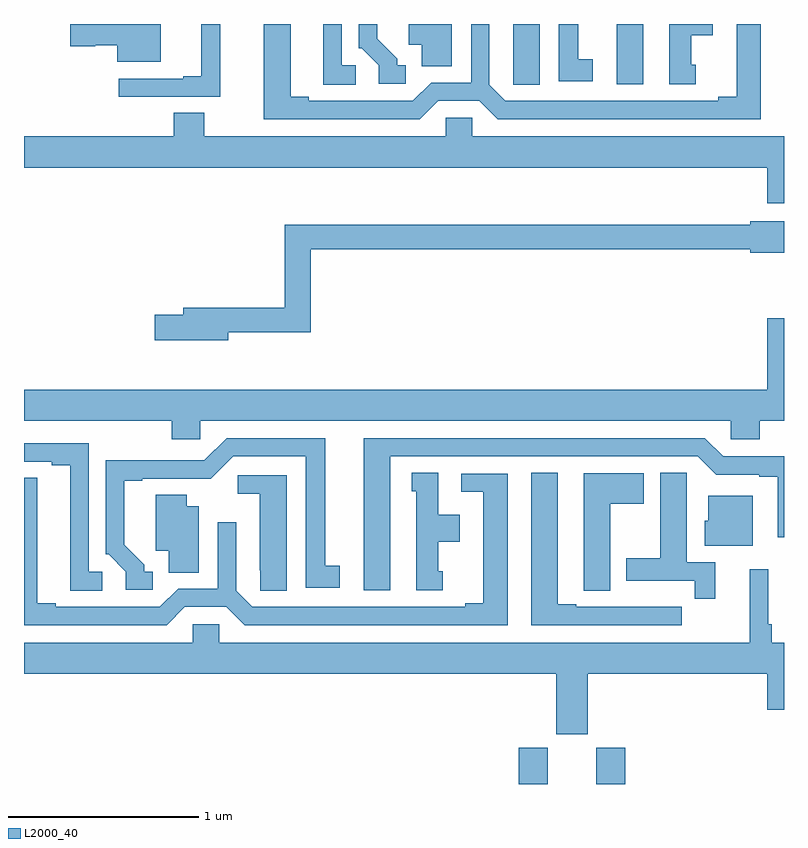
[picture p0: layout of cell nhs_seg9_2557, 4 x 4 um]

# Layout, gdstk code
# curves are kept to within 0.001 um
import gdstk
lib = gdstk.Library(unit=1e-6, precision=1e-09)
def R(c, l, rs):  # rectangles x0, y0, x1, y1
    for r in rs: c.add(gdstk.rectangle(r[:2], r[2:], *l))
def P(c, l, *ps):  # polygons
    for p in ps: c.add(gdstk.Polygon(p, *l))
L2000_40 = (2000, 40)

nhs_seg9_2557 = lib.new_cell('nhs_seg9_2557')
R(nhs_seg9_2557, L2000_40, [(259.604,1202.5,259.756,1202.691), (260.012,1202.5,260.165,1202.691), (260.12,1206.183,260.26,1206.5)])
P(nhs_seg9_2557, L2000_40, [(260.536,1206.285),(260.512,1206.285),(260.512,1206.44),(260.626,1206.44),(260.626,1206.5),(260.396,1206.5),(260.396,1206.183),(260.536,1206.183)],
  [(259.714,1206.5),(259.574,1206.5),(259.574,1206.289),(259.575,1206.289),(259.575,1206.181),(259.714,1206.181)],
  [(259.252,1206.5),(259.025,1206.5),(259.025,1206.392),(259.094,1206.392),(259.094,1206.277),(259.252,1206.277)],
  [(257.719,1206.5),(257.244,1206.5),(257.244,1206.382),(257.376,1206.382),(257.376,1206.389),(257.492,1206.389),(257.492,1206.302),(257.719,1206.302)],
  [(258.033,1206.5),(257.933,1206.5),(257.933,1206.226),(257.837,1206.226),(257.837,1206.213),(257.499,1206.213),(257.499,1206.117),(258.033,1206.117)],
  [(258.745,1206.282),(258.672,1206.282),(258.672,1206.5),(258.575,1206.5),(258.575,1206.181),(258.745,1206.181)],
  [(259.009,1206.282),(258.964,1206.282),(258.964,1206.317),(258.859,1206.422),(258.859,1206.5),(258.762,1206.5),(258.762,1206.372),(258.777,1206.372),(258.867,1206.282),(258.867,1206.186),(259.009,1206.186)],
  [(259.993,1206.314),(259.918,1206.314),(259.918,1206.5),(259.814,1206.5),(259.814,1206.198),(259.993,1206.198)],
  [(259.179,1206.096),(259.397,1206.096),(259.493,1206),(260.878,1206),(260.878,1206.5),(260.75,1206.5),(260.75,1206.116),(260.654,1206.116),(260.654,1206.096),(259.533,1206.096),(259.449,1206.18),(259.449,1206.5),(259.353,1206.5),(259.353,1206.192),(259.143,1206.192),(259.047,1206.096),(258.499,1206.096),(258.499,1206.116),(258.403,1206.116),(258.403,1206.5),(258.263,1206.5),(258.263,1206),(259.083,1206)],
  [(261,1205.908),(259.359,1205.908),(259.359,1206.006),(259.221,1206.006),(259.221,1205.908),(257.949,1205.908),(257.949,1206.032),(257.789,1206.032),(257.789,1205.908),(257,1205.908),(257,1205.744),(260.912,1205.744),(260.912,1205.556),(261,1205.556)],
  [(258.076,1204.878),(258.509,1204.878),(258.509,1205.314),(260.822,1205.314),(260.822,1205.296),(261,1205.296),(261,1205.461),(260.822,1205.461),(260.822,1205.443),(258.373,1205.443),(258.373,1205.006),(257.837,1205.006),(257.837,1204.97),(257.688,1204.97),(257.688,1204.835),(258.076,1204.835)],
  [(257.928,1204.412),(260.721,1204.412),(260.721,1204.314),(260.873,1204.314),(260.873,1204.412),(261,1204.412),(261,1204.951),(260.912,1204.951),(260.912,1204.576),(257,1204.576),(257,1204.412),(257.777,1204.412),(257.777,1204.314),(257.928,1204.314)],
  [(258.928,1204.224),(260.547,1204.224),(260.643,1204.128),(260.87,1204.128),(260.87,1204.116),(260.966,1204.116),(260.966,1203.798),(261,1203.798),(261,1204.224),(260.679,1204.224),(260.583,1204.32),(258.788,1204.32),(258.788,1203.519),(258.928,1203.519)],
  [(257.677,1203.618),(257.632,1203.618),(257.632,1203.653),(257.527,1203.758),(257.527,1204.095),(257.623,1204.095),(257.623,1204.107),(257.984,1204.106),(258.102,1204.224),(258.482,1204.224),(258.482,1203.534),(258.661,1203.534),(258.661,1203.65),(258.586,1203.65),(258.586,1204.32),(258.066,1204.32),(257.949,1204.203),(257.693,1204.203),(257.693,1204.205),(257.43,1204.205),(257.43,1203.708),(257.445,1203.708),(257.535,1203.618),(257.535,1203.522),(257.677,1203.522)],
  [(257.413,1203.618),(257.34,1203.618),(257.34,1204.293),(257,1204.293),(257,1204.197),(257.147,1204.197),(257.147,1204.177),(257.243,1204.177),(257.243,1203.517),(257.413,1203.517)],
  [(260.461,1203.432),(260.348,1203.432),(260.348,1203.433),(260.182,1203.433),(260.182,1203.432),(259.906,1203.432),(259.906,1203.447),(259.81,1203.447),(259.81,1204.139),(259.67,1204.139),(259.67,1203.336),(260.461,1203.336)],
  [(260.639,1203.666),(260.488,1203.666),(260.488,1204.028),(260.487,1204.028),(260.487,1204.139),(260.348,1204.139),(260.348,1203.687),(260.171,1203.687),(260.171,1203.57),(260.53,1203.57),(260.53,1203.474),(260.639,1203.474)],
  [(259.204,1203.621),(259.18,1203.621),(259.18,1203.776),(259.294,1203.776),(259.294,1203.916),(259.18,1203.916),(259.18,1204.139),(259.04,1204.139),(259.04,1204.041),(259.064,1204.041),(259.064,1203.519),(259.204,1203.519)],
  [(260.086,1203.976),(260.263,1203.976),(260.263,1204.135),(259.946,1204.135),(259.946,1203.625),(259.947,1203.625),(259.947,1203.517),(260.086,1203.517)],
  [(257.847,1203.432),(258.065,1203.432),(258.161,1203.336),(259.546,1203.336),(259.546,1204.134),(259.302,1204.134),(259.302,1204.038),(259.418,1204.038),(259.418,1203.452),(259.322,1203.452),(259.322,1203.432),(258.201,1203.432),(258.117,1203.516),(258.117,1203.877),(258.021,1203.877),(258.021,1203.528),(257.811,1203.528),(257.715,1203.432),(257.167,1203.432),(257.167,1203.452),(257.071,1203.452),(257.071,1204.112),(257,1204.112),(257,1203.336),(257.751,1203.336)],
  [(258.382,1204.125),(258.126,1204.125),(258.126,1204.028),(258.242,1204.028),(258.242,1203.625),(258.243,1203.625),(258.243,1203.517),(258.382,1203.517)],
  [(257.92,1203.961),(257.857,1203.961),(257.857,1204.022),(257.693,1204.022),(257.693,1203.728),(257.762,1203.728),(257.762,1203.613),(257.92,1203.613)],
  [(260.836,1204.018),(260.6,1204.018),(260.6,1203.885),(260.582,1203.885),(260.582,1203.755),(260.836,1203.755)],
  [(259.966,1203.08),(260.912,1203.08),(260.912,1202.892),(261,1202.892),(261,1203.244),(260.936,1203.244),(260.936,1203.34),(260.916,1203.34),(260.916,1203.631),(260.819,1203.631),(260.819,1203.244),(258.027,1203.244),(258.027,1203.342),(257.889,1203.342),(257.889,1203.244),(257,1203.244),(257,1203.08),(259.802,1203.08),(259.802,1202.763),(259.966,1202.763)])

lib.write_gds('nhs_seg9_2557.gds')
